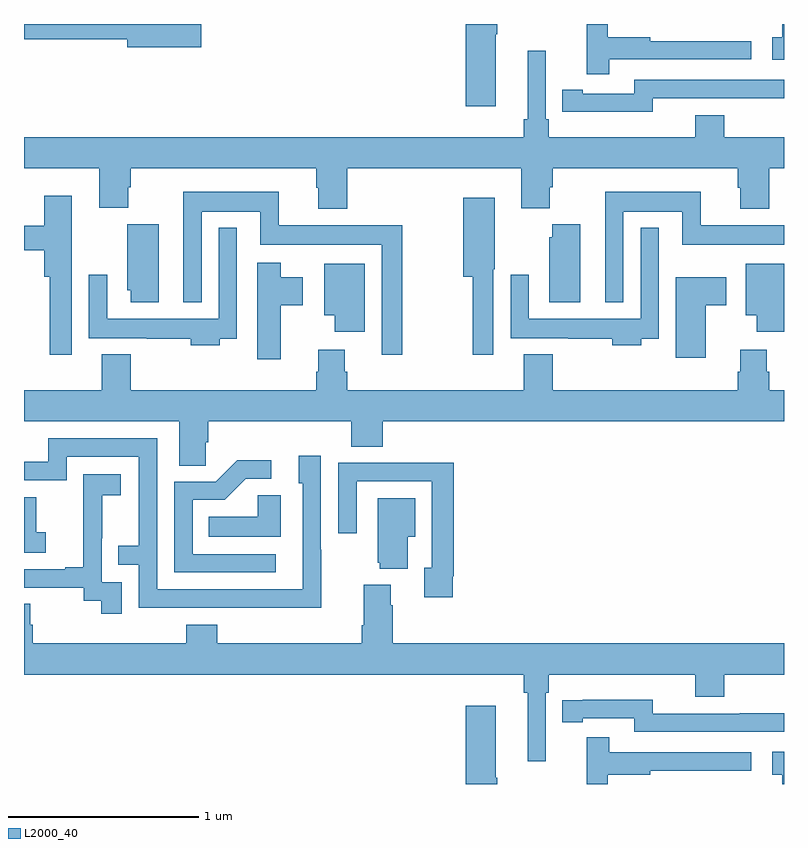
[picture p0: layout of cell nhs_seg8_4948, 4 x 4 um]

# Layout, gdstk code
import gdstk
lib = gdstk.Library(unit=1e-6, precision=1e-09)
def R(c, l, rs):  # rectangles x0, y0, x1, y1
    for r in rs: c.add(gdstk.rectangle(r[:2], r[2:], *l))
def P(c, l, *ps):  # polygons
    for p in ps: c.add(gdstk.Polygon(p, *l))
L2000_40 = (2000, 40)

nhs_seg8_4948 = lib.new_cell('nhs_seg8_4948')
R(nhs_seg8_4948, L2000_40, [(412.391,1143.899,412.81,1143.9)])
P(nhs_seg8_4948, L2000_40, [(409.933,1143.9),(409,1143.9),(409,1143.82),(409.544,1143.82),(409.544,1143.778),(409.933,1143.778)],
  [(411.484,1143.847),(411.492,1143.847),(411.492,1143.9),(411.326,1143.9),(411.326,1143.468),(411.484,1143.468)],
  [(412.079,1143.714),(412.828,1143.714),(412.828,1143.81),(412.295,1143.81),(412.295,1143.83),(412.072,1143.83),(412.072,1143.9),(411.962,1143.9),(411.962,1143.636),(412.079,1143.636)],
  [(413,1143.9),(412.991,1143.9),(412.991,1143.831),(412.938,1143.831),(412.938,1143.711),(413,1143.711)],
  [(410.702,1143.14),(411.617,1143.14),(411.617,1142.931),(411.767,1142.931),(411.767,1143.041),(411.782,1143.041),(411.782,1143.14),(412.757,1143.14),(412.757,1143.039),(412.769,1143.039),(412.769,1142.927),(412.922,1142.927),(412.922,1143.14),(413,1143.14),(413,1143.304),(412.685,1143.304),(412.685,1143.421),(412.532,1143.421),(412.532,1143.304),(411.761,1143.304),(411.761,1143.4),(411.747,1143.4),(411.747,1143.76),(411.65,1143.76),(411.65,1143.4),(411.631,1143.4),(411.631,1143.304),(409,1143.304),(409,1143.14),(409.397,1143.14),(409.397,1142.932),(409.549,1142.932),(409.549,1143.041),(409.562,1143.041),(409.562,1143.14),(410.537,1143.14),(410.537,1143.039),(410.549,1143.039),(410.549,1142.927),(410.702,1142.927)],
  [(412.308,1143.51),(412.768,1143.51),(412.768,1143.509),(413,1143.509),(413,1143.606),(412.212,1143.606),(412.212,1143.534),(411.94,1143.534),(411.94,1143.554),(411.832,1143.554),(411.832,1143.438),(411.94,1143.438),(411.94,1143.437),(412.308,1143.437)],
  [(410.992,1142.842),(410.342,1142.842),(410.342,1143.016),(409.838,1143.016),(409.838,1142.435),(409.935,1142.435),(409.935,1142.912),(410.244,1142.912),(410.244,1142.738),(410.883,1142.738),(410.883,1142.16),(410.992,1142.16)],
  [(412.155,1142.912),(412.464,1142.912),(412.464,1142.738),(413,1142.738),(413,1142.842),(412.562,1142.842),(412.562,1143.016),(412.058,1143.016),(412.058,1142.435),(412.155,1142.435)],
  [(409.251,1142.733),(409.252,1142.733),(409.252,1142.995),(409.106,1142.995),(409.106,1142.839),(409,1142.839),(409,1142.71),(409.106,1142.71),(409.106,1142.57),(409.135,1142.57),(409.135,1142.16),(409.251,1142.16)],
  [(411.471,1142.61),(411.478,1142.61),(411.478,1142.986),(411.313,1142.986),(411.313,1142.57),(411.363,1142.57),(411.363,1142.16),(411.471,1142.16)],
  [(409.708,1142.847),(409.544,1142.847),(409.544,1142.499),(409.562,1142.499),(409.562,1142.436),(409.708,1142.436)],
  [(411.928,1142.847),(411.78,1142.847),(411.78,1142.778),(411.764,1142.778),(411.764,1142.435),(411.928,1142.435)],
  [(412.249,1142.244),(412.341,1142.244),(412.341,1142.827),(412.245,1142.827),(412.245,1142.35),(411.657,1142.35),(411.657,1142.581),(411.561,1142.581),(411.561,1142.246),(411.865,1142.246),(411.865,1142.244),(412.097,1142.244),(412.097,1142.21),(412.249,1142.21)],
  [(410.029,1142.244),(410.121,1142.244),(410.121,1142.827),(410.025,1142.827),(410.025,1142.35),(409.437,1142.35),(409.437,1142.581),(409.341,1142.581),(409.341,1142.246),(409.645,1142.246),(409.645,1142.244),(409.877,1142.244),(409.877,1142.21),(410.029,1142.21)],
  [(410.35,1142.419),(410.467,1142.419),(410.467,1142.566),(410.35,1142.566),(410.35,1142.644),(410.228,1142.644),(410.228,1142.136),(410.35,1142.136)],
  [(413,1142.638),(412.799,1142.638),(412.799,1142.366),(412.856,1142.366),(412.856,1142.28),(413,1142.28)],
  [(410.794,1142.638),(410.579,1142.638),(410.579,1142.366),(410.636,1142.366),(410.636,1142.28),(410.794,1142.28)],
  [(412.588,1142.419),(412.696,1142.419),(412.696,1142.566),(412.43,1142.566),(412.43,1142.144),(412.588,1142.144)],
  [(409.956,1141.699),(409.97,1141.699),(409.97,1141.808),(410.723,1141.808),(410.723,1141.675),(410.888,1141.675),(410.888,1141.808),(413,1141.808),(413,1141.972),(412.922,1141.972),(412.922,1142.07),(412.909,1142.07),(412.909,1142.185),(412.769,1142.185),(412.769,1142.07),(412.757,1142.07),(412.757,1141.972),(411.782,1141.972),(411.782,1142.161),(411.629,1142.161),(411.629,1141.972),(410.702,1141.972),(410.702,1142.07),(410.689,1142.07),(410.689,1142.185),(410.549,1142.185),(410.549,1142.07),(410.537,1142.07),(410.537,1141.972),(409.562,1141.972),(409.562,1142.161),(409.409,1142.161),(409.409,1141.972),(409,1141.972),(409,1141.808),(409.817,1141.808),(409.817,1141.576),(409.956,1141.576)],
  [(410.565,1141.133),(410.562,1141.133),(410.562,1141.627),(410.447,1141.627),(410.447,1141.482),(410.466,1141.482),(410.466,1140.924),(409.701,1140.924),(409.701,1141.719),(409.127,1141.719),(409.127,1141.596),(409,1141.596),(409,1141.5),(409.224,1141.5),(409.224,1141.623),(409.605,1141.623),(409.605,1141.154),(409.495,1141.154),(409.495,1141.053),(409.605,1141.053),(409.605,1140.828),(410.101,1140.828),(410.101,1140.827),(410.565,1140.827)],
  [(410.326,1141.11),(409.887,1141.11),(409.887,1141.395),(410.056,1141.395),(410.167,1141.506),(410.302,1141.506),(410.302,1141.604),(410.123,1141.604),(410.01,1141.491),(409.791,1141.491),(409.791,1141.014),(410.326,1141.014)],
  [(411.256,1140.994),(411.263,1140.994),(411.263,1141.592),(410.971,1141.592),(410.971,1141.59),(410.655,1141.59),(410.655,1141.221),(410.751,1141.221),(410.751,1141.494),(411.147,1141.494),(411.147,1141.038),(411.107,1141.038),(411.107,1140.882),(411.256,1140.882)],
  [(409.515,1140.963),(409.41,1140.963),(409.41,1141.193),(409.412,1141.193),(409.412,1141.421),(409.51,1141.421),(409.51,1141.531),(409.312,1141.531),(409.312,1141.325),(409.313,1141.325),(409.313,1141.042),(409.217,1141.042),(409.217,1141.029),(409,1141.029),(409,1140.933),(409.314,1140.933),(409.314,1140.865),(409.407,1140.865),(409.407,1140.795),(409.515,1140.795)],
  [(410.35,1141.421),(410.229,1141.421),(410.229,1141.306),(409.972,1141.306),(409.972,1141.202),(410.35,1141.202)],
  [(409.114,1141.225),(409.065,1141.225),(409.065,1141.41),(409,1141.41),(409,1141.116),(409.114,1141.116)],
  [(411.019,1141.202),(411.058,1141.202),(411.058,1141.405),(410.861,1141.405),(410.861,1141.065),(410.873,1141.065),(410.873,1141.034),(411.019,1141.034)],
  [(411.747,1140.38),(411.761,1140.38),(411.761,1140.476),(412.532,1140.476),(412.532,1140.359),(412.685,1140.359),(412.685,1140.476),(413,1140.476),(413,1140.64),(410.942,1140.64),(410.942,1140.842),(410.929,1140.842),(410.929,1140.949),(410.789,1140.949),(410.789,1140.736),(410.777,1140.736),(410.777,1140.64),(410.018,1140.64),(410.018,1140.739),(409.853,1140.739),(409.853,1140.64),(409.046,1140.64),(409.046,1140.738),(409.033,1140.738),(409.033,1140.848),(409,1140.848),(409,1140.476),(411.631,1140.476),(411.631,1140.38),(411.65,1140.38),(411.65,1140.021),(411.747,1140.021)],
  [(413,1140.272),(412.768,1140.272),(412.768,1140.27),(412.308,1140.27),(412.308,1140.343),(411.94,1140.343),(411.94,1140.342),(411.832,1140.342),(411.832,1140.226),(411.94,1140.226),(411.94,1140.246),(412.212,1140.246),(412.212,1140.174),(413,1140.174)],
  [(411.492,1139.933),(411.484,1139.933),(411.484,1140.313),(411.326,1140.313),(411.326,1139.9),(411.492,1139.9)],
  [(412.072,1139.95),(412.295,1139.95),(412.295,1139.97),(412.828,1139.97),(412.828,1140.066),(412.079,1140.066),(412.079,1140.145),(411.962,1140.145),(411.962,1139.9),(412.072,1139.9)],
  [(413,1140.07),(412.938,1140.07),(412.938,1139.949),(412.991,1139.949),(412.991,1139.9),(413,1139.9)])

lib.write_gds('nhs_seg8_4948.gds')
